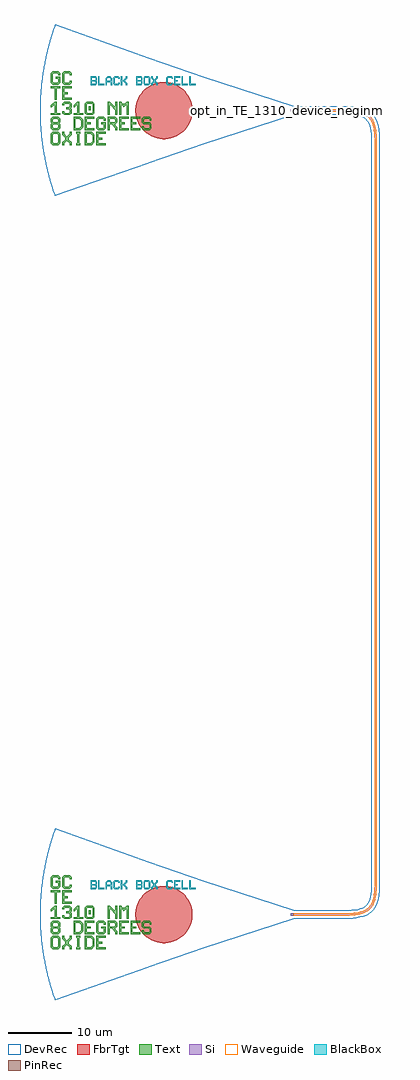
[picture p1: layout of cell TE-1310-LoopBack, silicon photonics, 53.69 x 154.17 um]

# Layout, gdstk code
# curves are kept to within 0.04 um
import gdstk
lib = gdstk.Library(unit=1e-6, precision=1e-09)
def R(c, l, rs):  # rectangles x0, y0, x1, y1
    for r in rs: c.add(gdstk.rectangle(r[:2], r[2:], *l))
def P(c, l, *ps):  # polygons
    for p in ps: c.add(gdstk.Polygon(p, *l))
Si = (1, 0)
PinRec = (1, 10)
Waveguide = (1, 99)
Text = (10, 0)
DevRec = (68, 0)
FbrTgt = (81, 0)
BlackBox = (998, 0)

text_2 = lib.new_cell('TEXT$2')
P(text_2, BlackBox, [(0,0),(0,1.4),(0.8,1.4),(1,1.2),(0.2,1.2),(0.2,0.8),(0.7,0.8),(0.8,0.9),(0.8,1.1),(0.7,1.2),(1,1.2),(1,0.8),(0.9,0.7),(1,0.6),(0.2,0.6),(0.2,0.2),(0.7,0.2),(0.8,0.3),(0.8,0.5),(0.7,0.6),(1,0.6),(1,0.2),(0.8,0)],
  [(1.2,0),(1.2,1.4),(1.4,1.4),(1.4,0.2),(2.2,0.2),(2.2,0)],
  [(2.4,0),(2.4,1.1),(2.7,1.4),(3.1,1.4),(3.3,1.2),(2.8,1.2),(2.6,1),(2.6,0.7),(3.2,0.7),(3.2,1),(3,1.2),(3.3,1.2),(3.4,1.1),(3.4,0),(3.2,0),(3.2,0.5),(2.6,0.5),(2.6,0)],
  [(3.8,0),(3.6,0.2),(3.6,1.2),(3.8,1.4),(4.4,1.4),(4.6,1.2),(4.6,1),(4.4,1),(4.4,1.1),(4.3,1.2),(3.9,1.2),(3.8,1.1),(3.8,0.3),(3.9,0.2),(4.3,0.2),(4.4,0.3),(4.4,0.4),(4.6,0.4),(4.6,0.2),(4.4,0)],
  [(4.8,0),(4.8,1.4),(5,1.4),(5,0.8),(5.2,0.8),(5.6,1.2),(5.6,1.4),(5.8,1.4),(5.8,1.1),(5.4,0.7),(5.8,0.3),(5.8,0),(5.6,0),(5.6,0.2),(5.2,0.6),(5,0.6),(5,0)],
  [(7.2,0),(7.2,1.4),(8,1.4),(8.2,1.2),(7.4,1.2),(7.4,0.8),(7.9,0.8),(8,0.9),(8,1.1),(7.9,1.2),(8.2,1.2),(8.2,0.8),(8.1,0.7),(8.2,0.6),(7.4,0.6),(7.4,0.2),(7.9,0.2),(8,0.3),(8,0.5),(7.9,0.6),(8.2,0.6),(8.2,0.2),(8,0)],
  [(8.6,0),(8.4,0.2),(8.4,1.2),(8.6,1.4),(9.2,1.4),(9.4,1.2),(9.4,0.7),(9.2,0.7),(9.2,1.1),(9.1,1.2),(8.7,1.2),(8.6,1.1),(8.6,0.3),(8.7,0.2),(9.1,0.2),(9.2,0.3),(9.2,0.7),(9.4,0.7),(9.4,0.2),(9.2,0)],
  [(9.6,0),(9.6,0.3),(9.9,0.6),(9.9,0.8),(9.6,1.1),(9.6,1.4),(9.8,1.4),(9.8,1.2),(10.1,0.9),(10.4,1.2),(10.4,1.4),(10.6,1.4),(10.6,1.1),(10.3,0.8),(10.3,0.6),(10.6,0.3),(10.6,0),(10.4,0),(10.4,0.2),(10.1,0.5),(9.8,0.2),(9.8,0)],
  [(12.2,0),(12,0.2),(12,1.2),(12.2,1.4),(12.8,1.4),(13,1.2),(13,1),(12.8,1),(12.8,1.1),(12.7,1.2),(12.3,1.2),(12.2,1.1),(12.2,0.3),(12.3,0.2),(12.7,0.2),(12.8,0.3),(12.8,0.4),(13,0.4),(13,0.2),(12.8,0)],
  [(13.2,0),(13.2,1.4),(14.2,1.4),(14.2,1.2),(13.4,1.2),(13.4,0.8),(13.8,0.8),(13.8,0.6),(13.4,0.6),(13.4,0.2),(14.2,0.2),(14.2,0)],
  [(14.4,0),(14.4,1.4),(14.6,1.4),(14.6,0.2),(15.4,0.2),(15.4,0)],
  [(15.6,0),(15.6,1.4),(15.8,1.4),(15.8,0.2),(16.6,0.2),(16.6,0)])

gc_te_1310_8degoxide_bb = lib.new_cell('GC_TE_1310_8degOxide_BB')
R(gc_te_1310_8degoxide_bb, Si, [(-0.4,-0.175,0,0.175)])
R(gc_te_1310_8degoxide_bb, Text, [(-32.27,0.06,-31.97,0.66)])
P(gc_te_1310_8degoxide_bb, Text, [(-37.67,1.71),(-37.67,3.51),(-38.27,3.51),(-38.27,3.81),(-36.77,3.81),(-36.77,3.51),(-37.37,3.51),(-37.37,1.71)],
  [(-37.97,-5.49),(-38.27,-5.19),(-38.27,-3.69),(-37.97,-3.39),(-37.07,-3.39),(-36.77,-3.69),(-36.77,-4.44),(-37.07,-4.44),(-37.07,-3.84),(-37.22,-3.69),(-37.82,-3.69),(-37.97,-3.84),(-37.97,-5.04),(-37.82,-5.19),(-37.22,-5.19),(-37.07,-5.04),(-37.07,-4.44),(-36.77,-4.44),(-36.77,-5.19),(-37.07,-5.49)],
  [(-31.07,-5.49),(-31.07,-3.39),(-29.57,-3.39),(-29.57,-3.69),(-30.77,-3.69),(-30.77,-4.29),(-30.17,-4.29),(-30.17,-4.59),(-30.77,-4.59),(-30.77,-5.19),(-29.57,-5.19),(-29.57,-5.49)],
  [(-32.87,-3.09),(-32.87,-0.99),(-31.37,-0.99),(-31.37,-1.29),(-32.57,-1.29),(-32.57,-1.89),(-31.97,-1.89),(-31.97,-2.19),(-32.57,-2.19),(-32.57,-2.79),(-31.37,-2.79),(-31.37,-3.09)],
  [(-27.47,-3.09),(-27.47,-0.99),(-25.97,-0.99),(-25.97,-1.29),(-27.17,-1.29),(-27.17,-1.89),(-26.57,-1.89),(-26.57,-2.19),(-27.17,-2.19),(-27.17,-2.79),(-25.97,-2.79),(-25.97,-3.09)],
  [(-25.67,-3.09),(-25.67,-0.99),(-24.17,-0.99),(-24.17,-1.29),(-25.37,-1.29),(-25.37,-1.89),(-24.77,-1.89),(-24.77,-2.19),(-25.37,-2.19),(-25.37,-2.79),(-24.17,-2.79),(-24.17,-3.09)],
  [(-36.47,1.71),(-36.47,3.81),(-34.97,3.81),(-34.97,3.51),(-36.17,3.51),(-36.17,2.91),(-35.57,2.91),(-35.57,2.61),(-36.17,2.61),(-36.17,2.01),(-34.97,2.01),(-34.97,1.71)],
  [(-27.47,-0.69),(-27.47,1.41),(-27.17,1.41),(-26.87,1.11),(-26.57,1.11),(-26.27,1.41),(-25.97,1.41),(-25.97,-0.69),(-26.27,-0.69),(-26.27,0.81),(-26.42,0.81),(-26.72,0.51),(-27.02,0.81),(-27.17,0.81),(-27.17,-0.69)],
  [(-29.27,-0.69),(-29.27,1.41),(-28.97,1.41),(-28.22,0.66),(-28.07,0.66),(-28.07,1.41),(-27.77,1.41),(-27.77,-0.69),(-28.07,-0.69),(-28.07,0.06),(-28.82,0.81),(-28.97,0.81),(-28.97,-0.69)],
  [(-34.22,-5.49),(-34.22,-5.19),(-34.07,-5.19),(-34.07,-3.69),(-34.22,-3.69),(-34.22,-3.39),(-33.62,-3.39),(-33.62,-3.69),(-33.77,-3.69),(-33.77,-5.19),(-33.62,-5.19),(-33.62,-5.49)],
  [(-36.17,-0.69),(-36.47,-0.39),(-36.47,-0.09),(-36.17,-0.09),(-36.17,-0.24),(-36.02,-0.39),(-35.42,-0.39),(-35.27,-0.24),(-35.27,0.06),(-35.42,0.21),(-35.87,0.21),(-35.87,0.51),(-35.42,0.51),(-35.27,0.66),(-35.27,0.96),(-35.42,1.11),(-36.02,1.11),(-36.17,0.96),(-36.17,0.81),(-36.47,0.81),(-36.47,1.11),(-36.17,1.41),(-35.27,1.41),(-34.97,1.11),(-34.97,0.51),(-35.12,0.36),(-34.97,0.21),(-34.97,-0.39),(-35.27,-0.69)],
  [(-29.27,-3.09),(-29.27,-0.99),(-28.07,-0.99),(-27.77,-1.29),(-28.97,-1.29),(-28.97,-1.89),(-28.22,-1.89),(-28.07,-1.74),(-28.07,-1.44),(-28.22,-1.29),(-27.77,-1.29),(-27.77,-1.89),(-28.07,-2.19),(-28.07,-2.34),(-27.77,-2.64),(-27.77,-3.09),(-28.07,-3.09),(-28.07,-2.79),(-28.67,-2.19),(-28.97,-2.19),(-28.97,-3.09)],
  [(-30.77,-3.09),(-31.07,-2.79),(-31.07,-1.29),(-30.77,-0.99),(-29.87,-0.99),(-29.57,-1.29),(-29.57,-1.59),(-29.87,-1.59),(-29.87,-1.44),(-30.02,-1.29),(-30.62,-1.29),(-30.77,-1.44),(-30.77,-2.64),(-30.62,-2.79),(-30.02,-2.79),(-29.87,-2.64),(-29.87,-2.19),(-30.32,-2.19),(-30.32,-1.89),(-29.57,-1.89),(-29.57,-2.79),(-29.87,-3.09)],
  [(-37.97,4.11),(-38.27,4.41),(-38.27,5.91),(-37.97,6.21),(-37.07,6.21),(-36.77,5.91),(-36.77,5.61),(-37.07,5.61),(-37.07,5.76),(-37.22,5.91),(-37.82,5.91),(-37.97,5.76),(-37.97,4.56),(-37.82,4.41),(-37.22,4.41),(-37.07,4.56),(-37.07,5.01),(-37.52,5.01),(-37.52,5.31),(-36.77,5.31),(-36.77,4.41),(-37.07,4.11)],
  [(-32.57,-0.69),(-32.87,-0.39),(-32.87,1.11),(-32.57,1.41),(-31.67,1.41),(-31.37,1.11),(-32.42,1.11),(-32.57,0.96),(-32.57,-0.24),(-32.42,-0.39),(-31.82,-0.39),(-31.67,-0.24),(-31.67,0.96),(-31.82,1.11),(-31.37,1.11),(-31.37,-0.39),(-31.67,-0.69)],
  [(-32.87,-5.49),(-32.87,-3.39),(-31.82,-3.39),(-31.52,-3.69),(-32.57,-3.69),(-32.57,-5.19),(-31.97,-5.19),(-31.67,-4.89),(-31.67,-3.99),(-31.97,-3.69),(-31.52,-3.69),(-31.37,-3.84),(-31.37,-5.04),(-31.82,-5.49)],
  [(-34.67,-3.09),(-34.67,-0.99),(-33.62,-0.99),(-33.32,-1.29),(-34.37,-1.29),(-34.37,-2.79),(-33.77,-2.79),(-33.47,-2.49),(-33.47,-1.59),(-33.77,-1.29),(-33.32,-1.29),(-33.17,-1.44),(-33.17,-2.64),(-33.62,-3.09)],
  [(-23.57,-3.09),(-23.87,-2.79),(-23.87,-2.49),(-23.57,-2.49),(-23.57,-2.64),(-23.42,-2.79),(-22.82,-2.79),(-22.67,-2.64),(-22.67,-2.34),(-22.82,-2.19),(-23.57,-2.19),(-23.87,-1.89),(-23.87,-1.29),(-23.57,-0.99),(-22.67,-0.99),(-22.37,-1.29),(-22.37,-1.59),(-22.67,-1.59),(-22.67,-1.44),(-22.82,-1.29),(-23.42,-1.29),(-23.57,-1.44),(-23.57,-1.74),(-23.42,-1.89),(-22.67,-1.89),(-22.37,-2.19),(-22.37,-2.79),(-22.67,-3.09)],
  [(-37.97,-3.09),(-38.27,-2.79),(-38.27,-2.19),(-38.12,-2.04),(-38.27,-1.89),(-38.27,-1.29),(-37.97,-0.99),(-37.07,-0.99),(-36.77,-1.29),(-37.82,-1.29),(-37.97,-1.44),(-37.97,-1.74),(-37.82,-1.89),(-37.22,-1.89),(-37.07,-1.74),(-37.07,-1.44),(-37.22,-1.29),(-36.77,-1.29),(-36.77,-1.89),(-36.92,-2.04),(-36.77,-2.19),(-37.82,-2.19),(-37.97,-2.34),(-37.97,-2.64),(-37.82,-2.79),(-37.22,-2.79),(-37.07,-2.64),(-37.07,-2.34),(-37.22,-2.19),(-36.77,-2.19),(-36.77,-2.79),(-37.07,-3.09)],
  [(-38.27,-0.69),(-38.27,-0.39),(-37.67,-0.39),(-37.67,0.81),(-37.82,0.81),(-38.12,0.51),(-38.27,0.51),(-38.27,0.81),(-37.67,1.41),(-37.37,1.41),(-37.37,-0.39),(-36.77,-0.39),(-36.77,-0.69)],
  [(-34.67,-0.69),(-34.67,-0.39),(-34.07,-0.39),(-34.07,0.81),(-34.22,0.81),(-34.52,0.51),(-34.67,0.51),(-34.67,0.81),(-34.07,1.41),(-33.77,1.41),(-33.77,-0.39),(-33.17,-0.39),(-33.17,-0.69)],
  [(-36.47,-5.49),(-36.47,-5.04),(-36.02,-4.59),(-36.02,-4.29),(-36.47,-3.84),(-36.47,-3.39),(-36.17,-3.39),(-36.17,-3.69),(-35.72,-4.14),(-35.27,-3.69),(-35.27,-3.39),(-34.97,-3.39),(-34.97,-3.84),(-35.42,-4.29),(-35.42,-4.59),(-34.97,-5.04),(-34.97,-5.49),(-35.27,-5.49),(-35.27,-5.19),(-35.72,-4.74),(-36.17,-5.19),(-36.17,-5.49)],
  [(-36.17,4.11),(-36.47,4.41),(-36.47,5.91),(-36.17,6.21),(-35.27,6.21),(-34.97,5.91),(-34.97,5.61),(-35.27,5.61),(-35.27,5.76),(-35.42,5.91),(-36.02,5.91),(-36.17,5.76),(-36.17,4.56),(-36.02,4.41),(-35.42,4.41),(-35.27,4.56),(-35.27,4.71),(-34.97,4.71),(-34.97,4.41),(-35.27,4.11)])
P(gc_te_1310_8degoxide_bb, DevRec, [(-37.607,-13.5),(-38.627,-10.245),(-39.378,-6.832),(-39.647,-5.058),(-39.835,-3.274),(-39.969,0.224),(-39.812,3.541),(-39.331,7.097),(-38.557,10.505),(-37.546,13.669),(-22.8,8.353),(-14.109,5.36),(0,0.75),(0,-0.75),(-14.109,-5.36)])
P(gc_te_1310_8degoxide_bb, FbrTgt, [(-20.621,-4.5),(-21.495,-4.37),(-22.326,-4.073),(-23.084,-3.619),(-23.738,-3.026),(-24.264,-2.316),(-24.642,-1.518),(-24.857,-0.661),(-24.9,0.221),(-24.77,1.095),(-24.473,1.926),(-24.019,2.684),(-23.426,3.338),(-22.716,3.864),(-21.918,4.242),(-21.061,4.457),(-20.179,4.5),(-19.305,4.37),(-18.474,4.073),(-17.716,3.619),(-17.062,3.026),(-16.536,2.316),(-16.158,1.518),(-15.943,0.661),(-15.9,-0.221),(-16.03,-1.095),(-16.327,-1.926),(-16.781,-2.684),(-17.374,-3.338),(-18.084,-3.864),(-18.882,-4.242),(-19.739,-4.457)])
gc_te_1310_8degoxide_bb.add(gdstk.FlexPath([(-0.01,0),(0.01,0)], 0.35, ends="flush", simple_path=True, layer=1, datatype=10))  # PinRec
gc_te_1310_8degoxide_bb.add(gdstk.Reference(text_2, (-32,4)))
gc_te_1310_8degoxide_bb.add(gdstk.Label('opt1', (0,0), layer=1, texttype=10))
gc_te_1310_8degoxide_bb.add(gdstk.Label('Lumerical_INTERCONNECT_library=Design kits/ebeam', (-29,-7), layer=68, texttype=0))
gc_te_1310_8degoxide_bb.add(gdstk.Label('Component=GC_TE_1310_8degOxide_BB', (-28,-5), layer=68, texttype=0))

waveguide_19 = lib.new_cell('Waveguide$19')
P(waveguide_19, Si, [(39.969,13.325),(39.969,13.675),(48.649,13.685),(49.916,13.789),(50.78,13.983),(51.249,14.171),(51.643,14.41),(51.967,14.704),(52.232,15.061),(52.446,15.491),(52.609,16.002),(52.801,17.289),(52.84,18.5),(52.84,135.5),(52.768,137.068),(52.532,138.265),(52.344,138.734),(52.105,139.128),(51.811,139.452),(51.454,139.717),(51.024,139.931),(50.513,140.094),(49.582,140.254),(48.444,140.321),(39.969,140.325),(39.969,140.675),(49.252,140.636),(50.292,140.502),(51.022,140.306),(51.636,140.017),(52.226,139.533),(52.658,138.89),(52.908,138.23),(53.096,137.282),(53.18,136.146),(53.19,18.5),(53.151,17.263),(52.949,15.916),(52.77,15.361),(52.532,14.879),(52.227,14.468),(51.851,14.128),(51.405,13.857),(50.886,13.649),(49.968,13.443),(48.661,13.335)])
P(waveguide_19, Waveguide, [(39.969,13.325),(39.969,13.675),(48.649,13.685),(49.916,13.789),(50.78,13.983),(51.249,14.171),(51.643,14.41),(51.967,14.704),(52.232,15.061),(52.446,15.491),(52.609,16.002),(52.801,17.289),(52.84,18.5),(52.84,135.5),(52.768,137.068),(52.532,138.265),(52.344,138.734),(52.105,139.128),(51.811,139.452),(51.454,139.717),(51.024,139.931),(50.513,140.094),(49.582,140.254),(48.444,140.321),(39.969,140.325),(39.969,140.675),(49.252,140.636),(50.292,140.502),(51.022,140.306),(51.636,140.017),(52.226,139.533),(52.658,138.89),(52.908,138.23),(53.096,137.282),(53.18,136.146),(53.19,18.5),(53.151,17.263),(52.949,15.916),(52.77,15.361),(52.532,14.879),(52.227,14.468),(51.851,14.128),(51.405,13.857),(50.886,13.649),(49.968,13.443),(48.661,13.335)])
P(waveguide_19, DevRec, [(39.969,12.825),(39.969,14.175),(48.667,14.186),(49.771,14.274),(50.614,14.455),(51.213,14.722),(51.44,14.886),(51.794,15.303),(52.061,15.902),(52.163,16.292),(52.298,17.264),(52.34,18.5),(52.34,135.5),(52.297,136.737),(52.162,137.709),(52.06,138.099),(51.793,138.698),(51.629,138.925),(51.212,139.279),(50.613,139.546),(50.223,139.648),(48.667,139.815),(39.969,139.825),(39.969,141.175),(49.359,141.129),(50.509,140.968),(51.493,140.655),(52.315,140.141),(52.655,139.801),(52.939,139.412),(53.348,138.505),(53.579,137.442),(53.679,136.2),(53.69,18.5),(53.644,17.156),(53.483,16.006),(53.349,15.496),(52.94,14.589),(52.316,13.86),(51.927,13.576),(51.02,13.167),(49.957,12.936),(48.715,12.836)])
waveguide_19.add(gdstk.FlexPath([(39.979,140.5),(39.959,140.5)], 0.35, ends="flush", simple_path=True, layer=1, datatype=10))  # PinRec
waveguide_19.add(gdstk.FlexPath([(39.979,13.5),(39.959,13.5)], 0.35, ends="flush", simple_path=True, layer=1, datatype=10))  # PinRec
waveguide_19.add(gdstk.Label('opt1', (39.969,140.5), layer=1, texttype=10))
waveguide_19.add(gdstk.Label('opt2', (39.969,13.5), layer=1, texttype=10))
waveguide_19.add(gdstk.Label('Lumerical_INTERCONNECT_library=Design kits/EBeam', (39.969,140.43), layer=68, texttype=0))
waveguide_19.add(gdstk.Label('Component=ebeam_wg_integral_1310', (39.969,140.57), layer=68, texttype=0))
waveguide_19.add(gdstk.Label('cellName=Waveguide', (39.969,140.64), layer=68, texttype=0))
waveguide_19.add(gdstk.Label('Spice_param:wg_length=0.000149999 wg_width=3.5e-07 points="[[39.969,140.5],[53.015,140.5],[53.015,13.5],[39.969,13.5]]" radius=5e-06', (39.969,140.5), layer=68, texttype=0))
waveguide_19.add(gdstk.Label('Length=149.999 (microns)', (39.969,140.08), layer=68, texttype=0))
waveguide_19.add(gdstk.Label('waveguide_type=Strip TE 1310 nm, w=350 nm', (39.969,140.36), layer=68, texttype=0))

te_1310_loopback = lib.new_cell('TE-1310-LoopBack')
r = gdstk.Reference(gc_te_1310_8degoxide_bb, (39.969,13.5)); r.repetition = gdstk.Repetition(1, 2, v1=(0,0), v2=(0,127)); te_1310_loopback.add(r)
te_1310_loopback.add(gdstk.Reference(waveguide_19, (0,0)))
te_1310_loopback.add(gdstk.Label('opt_in_TE_1310_device_neginmemar_TE1310LoopBack', (39.03,140.43), layer=10, texttype=0))

lib.write_gds('TE-1310-LoopBack.gds')
